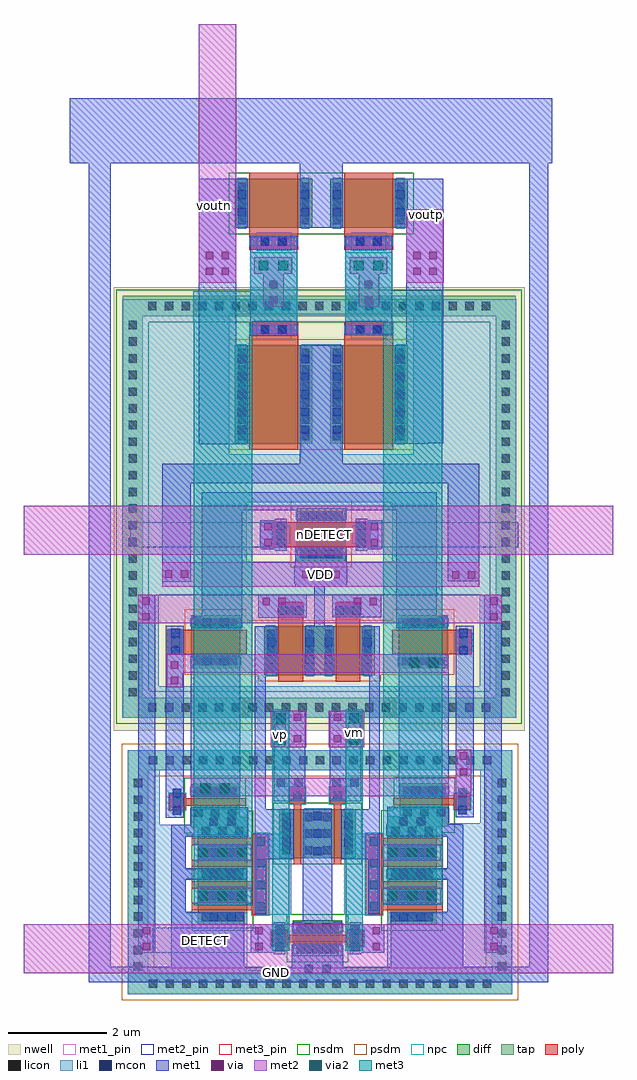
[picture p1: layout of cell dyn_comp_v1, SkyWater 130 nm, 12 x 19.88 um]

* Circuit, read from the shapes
.subckt dyn_comp_v1 DETECT GND VDD nDETECT vm voutn voutp vp
XM1 sky130_fd_pr__nfet_01v8_9ZWGZ9_0/D sky130_fd_pr__nfet_01v8_9ZWGZ9_17/D GND GND sky130_fd_pr__nfet_01v8 w=1 l=0.15
XM2 sky130_fd_pr__nfet_01v8_9ZWGZ9_0/D sky130_fd_pr__pfet_01v8_KDZMJM_38/D GND GND sky130_fd_pr__nfet_01v8 w=1 l=0.15 m=4
XM3 GND sky130_fd_pr__nfet_01v8_9ZWGZ9_0/D voutn GND sky130_fd_pr__nfet_01v8 w=1 l=1
XM4 sky130_fd_pr__nfet_01v8_9ZWGZ9_35/D DETECT GND GND sky130_fd_pr__nfet_01v8 w=1 l=0.15
XM5 sky130_fd_pr__nfet_01v8_9ZWGZ9_35/D vp sky130_fd_pr__pfet_01v8_KDZMJM_38/D GND sky130_fd_pr__nfet_01v8 w=1 l=0.15
XM6 sky130_fd_pr__nfet_01v8_9ZWGZ9_36/D vm sky130_fd_pr__nfet_01v8_9ZWGZ9_35/D GND sky130_fd_pr__nfet_01v8 w=1 l=0.15
XM7 voutp sky130_fd_pr__nfet_01v8_9ZWGZ9_17/D GND GND sky130_fd_pr__nfet_01v8 w=1 l=1
XM8 sky130_fd_pr__nfet_01v8_9ZWGZ9_17/D sky130_fd_pr__nfet_01v8_9ZWGZ9_36/D GND GND sky130_fd_pr__nfet_01v8 w=1 l=0.15 m=4
XM9 sky130_fd_pr__nfet_01v8_9ZWGZ9_17/D sky130_fd_pr__nfet_01v8_9ZWGZ9_0/D GND GND sky130_fd_pr__nfet_01v8 w=1 l=0.15
XM10 sky130_fd_pr__pfet_01v8_KDZMJM_53/D sky130_fd_pr__nfet_01v8_9ZWGZ9_17/D sky130_fd_pr__nfet_01v8_9ZWGZ9_0/D VDD sky130_fd_pr__pfet_01v8 w=1 l=0.5
XM11 VDD sky130_fd_pr__nfet_01v8_9ZWGZ9_0/D voutn VDD sky130_fd_pr__pfet_01v8 w=2 l=1
XM12 VDD DETECT sky130_fd_pr__pfet_01v8_KDZMJM_38/D VDD sky130_fd_pr__pfet_01v8 w=1 l=0.5
XM13 sky130_fd_pr__pfet_01v8_KDZMJM_53/D nDETECT VDD VDD sky130_fd_pr__pfet_01v8 w=1 l=0.5
XM14 sky130_fd_pr__nfet_01v8_9ZWGZ9_36/D DETECT VDD VDD sky130_fd_pr__pfet_01v8 w=1 l=0.5
XM15 voutp sky130_fd_pr__nfet_01v8_9ZWGZ9_17/D VDD VDD sky130_fd_pr__pfet_01v8 w=2 l=1
XM16 sky130_fd_pr__pfet_01v8_KDZMJM_53/D sky130_fd_pr__nfet_01v8_9ZWGZ9_0/D sky130_fd_pr__nfet_01v8_9ZWGZ9_17/D VDD sky130_fd_pr__pfet_01v8 w=1 l=0.5
.ends

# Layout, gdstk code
from math import pi, radians
import gdstk
lib = gdstk.Library(unit=1e-6, precision=1e-09)
def R(c, l, rs):  # rectangles x0, y0, x1, y1
    for r in rs: c.add(gdstk.rectangle(r[:2], r[2:], *l))
def A(c, l, x, y, w, h, nx, ny, dx, dy):  # array of equal rectangles
    R(c, l, [(x+i*dx, y+j*dy, x+i*dx+w, y+j*dy+h) for i in range(nx) for j in range(ny)])
nwell = (64, 20)
diff = (65, 20)
tap = (65, 44)
poly = (66, 20)
licon = (66, 44)
li1 = (67, 20)
mcon = (67, 44)
met1_pin = (68, 16)
met1 = (68, 20)
via = (68, 44)
met2_pin = (69, 16)
met2 = (69, 20)
via2 = (69, 44)
met3_pin = (70, 16)
met3 = (70, 20)
nsdm = (93, 44)
psdm = (94, 20)
npc = (95, 20)

sky130_fd_pr__nfet_01v8_ = lib.new_cell('sky130_fd_pr__nfet_01v8_9ZWGZ9')
R(sky130_fd_pr__nfet_01v8_, diff, [(-0.365,-0.655,0.365,0.345)])
R(sky130_fd_pr__nfet_01v8_, poly, [(-0.075,-0.785,0.075,0.455), (-0.165,0.455,0.165,0.785)])
A(sky130_fd_pr__nfet_01v8_, licon, -0.305, -0.58, 0.17, 0.17, 1, 3, 0, 0.34)
A(sky130_fd_pr__nfet_01v8_, licon, 0.135, -0.58, 0.17, 0.17, 1, 3, 0, 0.34)
R(sky130_fd_pr__nfet_01v8_, licon, [(-0.085,0.535,0.085,0.705)])
R(sky130_fd_pr__nfet_01v8_, li1, [(-0.305,-0.66,-0.135,0.35), (0.125,-0.66,0.315,0.35), (-0.165,0.535,0.165,0.705)])
R(sky130_fd_pr__nfet_01v8_, met1, [(-0.145,0.505,0.145,0.735)])
R(sky130_fd_pr__nfet_01v8_, nsdm, [(-0.49,-0.78,0.49,0.47)])
R(sky130_fd_pr__nfet_01v8_, npc, [(-0.185,0.435,0.185,0.805)])
sky130_fd_pr__nfet_01v8_.add(gdstk.Label('G', (0,0.62), layer=67, texttype=5))
sky130_fd_pr__nfet_01v8_.add(gdstk.Label('S', (0.22,-0.155), layer=67, texttype=5))
sky130_fd_pr__nfet_01v8_.add(gdstk.Label('D', (-0.22,-0.155), layer=67, texttype=5))

l1m1_mag_7849107791413 = lib.new_cell('L1M1_MAG_7849107791413')
R(l1m1_mag_7849107791413, li1, [(-0.265,-0.085,0.265,0.085)])
R(l1m1_mag_7849107791413, mcon, [(-0.265,-0.085,-0.095,0.085), (0.095,-0.085,0.265,0.085)])
R(l1m1_mag_7849107791413, met1, [(-0.325,-0.115,0.325,0.115)])

c_sky130_fd_pr__nfet_01v8_ = lib.new_cell('sky130_fd_pr__nfet_01v8_9ZAZEB')
R(c_sky130_fd_pr__nfet_01v8_, diff, [(-0.365,-0.5,0.365,0.5)])
R(c_sky130_fd_pr__nfet_01v8_, poly, [(-0.165,-0.94,0.165,-0.61), (-0.075,-0.61,0.075,0.61), (-0.165,0.61,0.165,0.94)])
A(c_sky130_fd_pr__nfet_01v8_, licon, -0.305, -0.425, 0.17, 0.17, 1, 3, 0, 0.34)
A(c_sky130_fd_pr__nfet_01v8_, licon, 0.135, -0.425, 0.17, 0.17, 1, 3, 0, 0.34)
R(c_sky130_fd_pr__nfet_01v8_, licon, [(-0.085,-0.86,0.085,-0.69), (-0.085,0.69,0.085,0.86)])
R(c_sky130_fd_pr__nfet_01v8_, li1, [(-0.165,-0.86,0.165,-0.69), (-0.305,-0.52,-0.135,0.52), (0.135,-0.52,0.305,0.52), (-0.165,0.69,0.165,0.86)])
R(c_sky130_fd_pr__nfet_01v8_, mcon, [(-0.305,-0.265,-0.135,-0.095), (0.135,-0.265,0.305,-0.095), (-0.305,0.095,-0.135,0.265), (0.135,0.095,0.305,0.265)])
R(c_sky130_fd_pr__nfet_01v8_, met1, [(-0.295,-1.355,0.285,-0.735), (-0.145,-0.735,0.145,-0.66), (-0.335,-0.5,-0.105,0.5), (0.105,-0.5,0.335,0.5), (-0.145,0.66,0.145,0.755), (-0.295,0.755,0.285,1.355)])
R(c_sky130_fd_pr__nfet_01v8_, nsdm, [(-0.49,-0.625,0.49,0.625)])
R(c_sky130_fd_pr__nfet_01v8_, npc, [(-0.185,-0.96,0.185,-0.59), (-0.185,0.59,0.185,0.96)])
c_sky130_fd_pr__nfet_01v8_.add(gdstk.Reference(l1m1_mag_7849107791413, (0,-0.775)))
c_sky130_fd_pr__nfet_01v8_.add(gdstk.Reference(l1m1_mag_7849107791413, (0,0.775)))
c_sky130_fd_pr__nfet_01v8_.add(gdstk.Label('G', (0,0.775), layer=67, texttype=5))
c_sky130_fd_pr__nfet_01v8_.add(gdstk.Label('S', (0.22,0), layer=67, texttype=5))
c_sky130_fd_pr__nfet_01v8_.add(gdstk.Label('D', (-0.22,0), layer=67, texttype=5))

m1m2_mag_7849107791419 = lib.new_cell('M1M2_MAG_7849107791419')
R(m1m2_mag_7849107791419, met1, [(-0.16,-0.29,0.16,0.29)])
R(m1m2_mag_7849107791419, via, [(-0.075,-0.235,0.075,-0.085), (-0.075,0.085,0.075,0.235)])
R(m1m2_mag_7849107791419, met2, [(-0.16,-0.29,0.16,0.29)])

m2m3_mag_7849107791425 = lib.new_cell('M2M3_MAG_7849107791425')
R(m2m3_mag_7849107791425, met2, [(-0.585,-0.165,0.585,0.165)])
A(m2m3_mag_7849107791425, via2, -0.5, -0.1, 0.2, 0.2, 3, 1, 0.4, 0)
R(m2m3_mag_7849107791425, met3, [(-0.585,-0.165,0.585,0.165)])

m1m2_mag_7849107791426 = lib.new_cell('M1M2_MAG_7849107791426')
R(m1m2_mag_7849107791426, met1, [(-0.5,-0.13,0.5,0.13)])
A(m1m2_mag_7849107791426, via, -0.395, -0.075, 0.15, 0.15, 3, 1, 0.32, 0)
R(m1m2_mag_7849107791426, met2, [(-0.585,-0.165,0.585,0.165)])

l1m1_mag_7849107791427 = lib.new_cell('L1M1_MAG_7849107791427')
R(l1m1_mag_7849107791427, li1, [(-0.5,-0.1,0.5,0.1)])
R(l1m1_mag_7849107791427, mcon, [(-0.265,-0.085,-0.095,0.085), (0.095,-0.085,0.265,0.085)])
R(l1m1_mag_7849107791427, met1, [(-0.5,-0.13,0.5,0.13)])

l1m1_mag_7849107791429 = lib.new_cell('L1M1_MAG_7849107791429')
R(l1m1_mag_7849107791429, li1, [(-0.085,-0.085,0.085,0.085)])
R(l1m1_mag_7849107791429, mcon, [(-0.085,-0.085,0.085,0.085)])
R(l1m1_mag_7849107791429, met1, [(-0.145,-0.115,0.145,0.115)])

c_sky130_fd_pr__nfet_01v8__ = lib.new_cell('sky130_fd_pr__nfet_01v8_ML4XRG')
R(c_sky130_fd_pr__nfet_01v8__, diff, [(-0.365,-0.345,0.365,0.655)])
R(c_sky130_fd_pr__nfet_01v8__, poly, [(-0.165,-0.785,0.165,-0.455), (-0.075,-0.455,0.075,0.785)])
A(c_sky130_fd_pr__nfet_01v8__, licon, -0.305, -0.27, 0.17, 0.17, 1, 3, 0, 0.34)
A(c_sky130_fd_pr__nfet_01v8__, licon, 0.135, -0.27, 0.17, 0.17, 1, 3, 0, 0.34)
R(c_sky130_fd_pr__nfet_01v8__, licon, [(-0.085,-0.705,0.085,-0.535)])
R(c_sky130_fd_pr__nfet_01v8__, li1, [(-0.165,-0.705,0.165,-0.535), (-0.305,-0.35,-0.135,0.66), (0.135,-0.35,0.305,0.66)])
R(c_sky130_fd_pr__nfet_01v8__, met1, [(-0.335,-0.345,-0.105,0.655), (0.105,-0.345,0.335,0.655)])
R(c_sky130_fd_pr__nfet_01v8__, nsdm, [(-0.49,-0.47,0.49,0.78)])
R(c_sky130_fd_pr__nfet_01v8__, npc, [(-0.185,-0.805,0.185,-0.435)])
c_sky130_fd_pr__nfet_01v8__.add(gdstk.Reference(l1m1_mag_7849107791429, (-0.18,-0.62)))
c_sky130_fd_pr__nfet_01v8__.add(gdstk.Reference(l1m1_mag_7849107791429, (0.18,-0.62)))
c_sky130_fd_pr__nfet_01v8__.add(gdstk.Label('G', (0,-0.62), layer=67, texttype=5))
c_sky130_fd_pr__nfet_01v8__.add(gdstk.Label('S', (0.22,0.155), layer=67, texttype=5))
c_sky130_fd_pr__nfet_01v8__.add(gdstk.Label('D', (-0.22,0.155), layer=67, texttype=5))

l1m1_mag_7849107791410 = lib.new_cell('L1M1_MAG_7849107791410')
R(l1m1_mag_7849107791410, li1, [(-0.085,-0.265,0.085,0.265)])
R(l1m1_mag_7849107791410, mcon, [(-0.085,-0.265,0.085,-0.095), (-0.085,0.095,0.085,0.265)])
R(l1m1_mag_7849107791410, met1, [(-0.145,-0.295,0.145,0.295)])

l1m1_mag_7849107791424 = lib.new_cell('L1M1_MAG_7849107791424')
R(l1m1_mag_7849107791424, li1, [(-0.085,-0.445,0.085,0.445)])
A(l1m1_mag_7849107791424, mcon, -0.085, -0.445, 0.17, 0.17, 1, 3, 0, 0.36)
R(l1m1_mag_7849107791424, met1, [(-0.145,-0.475,0.145,0.475)])

sky130_fd_pr__pfet_01v8_ = lib.new_cell('sky130_fd_pr__pfet_01v8_KDZMJM')
R(sky130_fd_pr__pfet_01v8_, nwell, [(-0.72,-0.99,0.72,0.82)])
R(sky130_fd_pr__pfet_01v8_, diff, [(-0.54,-0.68,0.54,0.32)])
R(sky130_fd_pr__pfet_01v8_, poly, [(-0.25,-0.81,0.25,0.805)])
A(sky130_fd_pr__pfet_01v8_, licon, -0.48, -0.605, 0.17, 0.17, 1, 3, 0, 0.34)
A(sky130_fd_pr__pfet_01v8_, licon, 0.31, -0.605, 0.17, 0.17, 1, 3, 0, 0.34)
R(sky130_fd_pr__pfet_01v8_, licon, [(-0.085,0.555,0.085,0.725)])
R(sky130_fd_pr__pfet_01v8_, li1, [(-0.48,-0.7,-0.31,0.34), (0.31,-0.7,0.48,0.34), (-0.25,0.555,0.25,0.725)])
R(sky130_fd_pr__pfet_01v8_, mcon, [(-0.48,-0.445,-0.31,-0.275), (0.31,-0.445,0.48,-0.275), (-0.48,-0.085,-0.31,0.085), (0.31,-0.085,0.48,0.085)])
R(sky130_fd_pr__pfet_01v8_, met1, [(-0.51,-0.68,-0.28,0.32), (0.28,-0.68,0.51,0.32), (-0.23,0.525,0.23,0.755)])
R(sky130_fd_pr__pfet_01v8_, psdm, [(-0.665,-0.805,0.665,0.445)])
R(sky130_fd_pr__pfet_01v8_, npc, [(-0.185,0.455,0.185,0.825)])
sky130_fd_pr__pfet_01v8_.add(gdstk.Reference(l1m1_mag_7849107791413, (0,0.64)))
sky130_fd_pr__pfet_01v8_.add(gdstk.Label('G', (0,0.64), layer=67, texttype=5))
sky130_fd_pr__pfet_01v8_.add(gdstk.Label('S', (0.395,-0.18), layer=67, texttype=5))
sky130_fd_pr__pfet_01v8_.add(gdstk.Label('D', (-0.395,-0.18), layer=67, texttype=5))

m2m3_mag_7849107791415 = lib.new_cell('M2M3_MAG_7849107791415')
R(m2m3_mag_7849107791415, met2, [(-0.385,-0.165,0.385,0.165)])
R(m2m3_mag_7849107791415, via2, [(-0.3,-0.1,-0.1,0.1), (0.1,-0.1,0.3,0.1)])
R(m2m3_mag_7849107791415, met3, [(-0.385,-0.165,0.385,0.165)])

m1m2_mag_7849107791428 = lib.new_cell('M1M2_MAG_7849107791428')
R(m1m2_mag_7849107791428, met1, [(-0.385,-0.165,0.385,0.165)])
R(m1m2_mag_7849107791428, via, [(-0.235,-0.075,-0.085,0.075), (0.085,-0.075,0.235,0.075)])
R(m1m2_mag_7849107791428, met2, [(-0.385,-0.165,0.385,0.165)])

m1m2_mag_7849107791416 = lib.new_cell('M1M2_MAG_7849107791416')
R(m1m2_mag_7849107791416, met1, [(-0.32,-0.13,0.32,0.13)])
R(m1m2_mag_7849107791416, via, [(-0.235,-0.075,-0.085,0.075), (0.085,-0.075,0.235,0.075)])
R(m1m2_mag_7849107791416, met2, [(-0.32,-0.13,0.32,0.13)])

c_sky130_fd_pr__pfet_01v8_ = lib.new_cell('sky130_fd_pr__pfet_01v8_U2XPXD')
R(c_sky130_fd_pr__pfet_01v8_, nwell, [(-0.72,-1,0.72,1)])
R(c_sky130_fd_pr__pfet_01v8_, diff, [(-0.54,-0.5,0.54,0.5)])
R(c_sky130_fd_pr__pfet_01v8_, poly, [(-0.25,-0.985,0.25,0.985)])
A(c_sky130_fd_pr__pfet_01v8_, licon, -0.48, -0.425, 0.17, 0.17, 1, 3, 0, 0.34)
A(c_sky130_fd_pr__pfet_01v8_, licon, 0.31, -0.425, 0.17, 0.17, 1, 3, 0, 0.34)
R(c_sky130_fd_pr__pfet_01v8_, licon, [(-0.085,-0.905,0.085,-0.735), (-0.085,0.735,0.085,0.905)])
R(c_sky130_fd_pr__pfet_01v8_, li1, [(-0.25,-0.905,0.25,-0.735), (-0.48,-0.52,-0.31,0.52), (0.31,-0.52,0.48,0.52), (-0.25,0.735,0.25,0.905)])
R(c_sky130_fd_pr__pfet_01v8_, mcon, [(-0.48,-0.265,-0.31,-0.095), (0.31,-0.265,0.48,-0.095), (-0.48,0.095,-0.31,0.265), (0.31,0.095,0.48,0.265)])
R(c_sky130_fd_pr__pfet_01v8_, met1, [(-0.23,-0.935,0.23,-0.705), (-0.51,-0.5,-0.28,0.5), (0.28,-0.5,0.51,0.5)])
R(c_sky130_fd_pr__pfet_01v8_, psdm, [(-0.665,-0.625,0.665,0.625)])
R(c_sky130_fd_pr__pfet_01v8_, npc, [(-0.185,-1.005,0.185,-0.635), (-0.185,0.635,0.185,1.005)])
c_sky130_fd_pr__pfet_01v8_.add(gdstk.Reference(l1m1_mag_7849107791413, (0,-0.82)))
c_sky130_fd_pr__pfet_01v8_.add(gdstk.Reference(l1m1_mag_7849107791413, (0,0.82)))
c_sky130_fd_pr__pfet_01v8_.add(gdstk.Label('G', (0,0.82), layer=67, texttype=5))
c_sky130_fd_pr__pfet_01v8_.add(gdstk.Label('S', (0.395,0), layer=67, texttype=5))
c_sky130_fd_pr__pfet_01v8_.add(gdstk.Label('D', (-0.395,0), layer=67, texttype=5))

c_sky130_fd_pr__pfet_01v8__ = lib.new_cell('sky130_fd_pr__pfet_01v8_D48SMA')
R(c_sky130_fd_pr__pfet_01v8__, nwell, [(-0.97,-1.32,0.97,1.49)])
R(c_sky130_fd_pr__pfet_01v8__, diff, [(-0.79,-0.82,0.79,1.18)])
R(c_sky130_fd_pr__pfet_01v8__, poly, [(-0.5,-1.305,0.5,1.31)])
A(c_sky130_fd_pr__pfet_01v8__, licon, -0.73, -0.755, 0.17, 0.17, 1, 6, 0, 0.34)
A(c_sky130_fd_pr__pfet_01v8__, licon, 0.56, -0.755, 0.17, 0.17, 1, 6, 0, 0.34)
R(c_sky130_fd_pr__pfet_01v8__, licon, [(-0.255,-1.225,-0.085,-1.055), (0.085,-1.225,0.255,-1.055)])
R(c_sky130_fd_pr__pfet_01v8__, li1, [(-0.5,-1.225,0.5,-1.055), (-0.73,-0.84,-0.56,1.2), (0.56,-0.84,0.73,1.2)])
A(c_sky130_fd_pr__pfet_01v8__, mcon, -0.73, -0.625, 0.17, 0.17, 1, 5, 0, 0.36)
A(c_sky130_fd_pr__pfet_01v8__, mcon, 0.56, -0.625, 0.17, 0.17, 1, 5, 0, 0.36)
R(c_sky130_fd_pr__pfet_01v8__, mcon, [(-0.265,-1.225,-0.095,-1.055), (0.095,-1.225,0.265,-1.055)])
R(c_sky130_fd_pr__pfet_01v8__, met1, [(-0.48,-1.255,0.48,-1.025), (-0.76,-0.82,-0.53,1.18), (0.53,-0.82,0.76,1.18)])
R(c_sky130_fd_pr__pfet_01v8__, psdm, [(-0.915,-0.945,0.915,1.305)])
R(c_sky130_fd_pr__pfet_01v8__, npc, [(-0.355,-1.325,0.355,-0.955)])
c_sky130_fd_pr__pfet_01v8__.add(gdstk.Label('G', (0,-1.14), layer=67, texttype=5))
c_sky130_fd_pr__pfet_01v8__.add(gdstk.Label('S', (0.645,0.18), layer=67, texttype=5))
c_sky130_fd_pr__pfet_01v8__.add(gdstk.Label('D', (-0.645,0.18), layer=67, texttype=5))

m1m2_mag_7849107791423 = lib.new_cell('M1M2_MAG_7849107791423')
R(m1m2_mag_7849107791423, met1, [(-0.32,-0.29,0.32,0.29)])
R(m1m2_mag_7849107791423, via, [(-0.235,-0.235,-0.085,-0.085), (0.085,-0.235,0.235,-0.085), (-0.235,0.085,-0.085,0.235), (0.085,0.085,0.235,0.235)])
R(m1m2_mag_7849107791423, met2, [(-0.32,-0.29,0.32,0.29)])

c_sky130_fd_pr__nfet_01v8___ = lib.new_cell('sky130_fd_pr__nfet_01v8_V52S8A')
R(c_sky130_fd_pr__nfet_01v8___, diff, [(-0.79,-0.655,0.79,0.345)])
R(c_sky130_fd_pr__nfet_01v8___, poly, [(-0.5,-0.785,0.5,0.785)])
A(c_sky130_fd_pr__nfet_01v8___, licon, -0.73, -0.58, 0.17, 0.17, 1, 3, 0, 0.34)
A(c_sky130_fd_pr__nfet_01v8___, licon, 0.56, -0.58, 0.17, 0.17, 1, 3, 0, 0.34)
R(c_sky130_fd_pr__nfet_01v8___, licon, [(-0.255,0.535,-0.085,0.705), (0.085,0.535,0.255,0.705)])
R(c_sky130_fd_pr__nfet_01v8___, li1, [(-0.73,-0.675,-0.56,0.365), (0.56,-0.675,0.73,0.365), (-0.5,0.535,0.5,0.705)])
R(c_sky130_fd_pr__nfet_01v8___, mcon, [(-0.73,-0.42,-0.56,-0.25), (0.56,-0.42,0.73,-0.25), (-0.73,-0.06,-0.56,0.11), (0.56,-0.06,0.73,0.11), (-0.265,0.535,-0.095,0.705), (0.095,0.535,0.265,0.705)])
R(c_sky130_fd_pr__nfet_01v8___, met1, [(-0.76,-0.655,-0.53,0.345), (0.53,-0.655,0.76,0.345), (-0.48,0.505,0.48,0.735)])
R(c_sky130_fd_pr__nfet_01v8___, nsdm, [(-0.915,-0.78,0.915,0.47)])
R(c_sky130_fd_pr__nfet_01v8___, npc, [(-0.355,0.435,0.355,0.805)])
c_sky130_fd_pr__nfet_01v8___.add(gdstk.Label('G', (0,0.62), layer=67, texttype=5))
c_sky130_fd_pr__nfet_01v8___.add(gdstk.Label('S', (0.645,-0.155), layer=67, texttype=5))
c_sky130_fd_pr__nfet_01v8___.add(gdstk.Label('D', (-0.645,-0.155), layer=67, texttype=5))

dyn_comp_v1 = lib.new_cell('dyn_comp_v1')
R(dyn_comp_v1, nwell, [(0.03,4.285,8.4,13.32)])
R(dyn_comp_v1, diff, [(3.905,1.69,4.455,1.97), (3.915,1.97,4.455,2.67), (5.645,2.21,6.605,2.33), (1.595,2.32,2.745,2.53), (5.645,2.33,6.855,2.39), (5.605,2.39,6.855,2.49), (5.605,2.49,5.855,2.54), (4.075,2.67,4.305,2.69), (3.915,5.415,4.525,6.415), (3.125,6.005,3.245,6.255)])
R(dyn_comp_v1, tap, [(0.32,-1.075,8.14,-0.665), (0.32,-0.665,0.73,3.48), (7.73,-0.665,8.14,3.48), (0.32,3.48,8.14,3.89), (0.21,4.55,8.22,4.96), (0.21,4.96,0.62,12.73), (7.81,4.96,8.22,12.73), (0.21,12.73,8.22,13.14)])
R(dyn_comp_v1, poly, [(2.855,0.54,3.185,2.19), (5.165,0.54,5.495,2.19), (1.155,2.67,1.455,3), (1.155,5.835,1.405,6.345)])
A(dyn_comp_v1, licon, 0.745, -0.955, 0.17, 0.17, 21, 2, 0.34, 4.555)
A(dyn_comp_v1, licon, 0.44, -0.605, 0.17, 0.17, 1, 12, 0, 0.34)
A(dyn_comp_v1, licon, 7.85, -0.605, 0.17, 0.17, 1, 12, 0, 0.34)
A(dyn_comp_v1, licon, 0.73, 4.67, 0.17, 0.17, 21, 2, 0.34, 8.18)
A(dyn_comp_v1, licon, 0.33, 4.985, 0.17, 0.17, 1, 23, 0, 0.34)
A(dyn_comp_v1, licon, 7.93, 4.985, 0.17, 0.17, 1, 23, 0, 0.34)
R(dyn_comp_v1, li1, [(0.315,-1.08,8.145,-0.59), (0.315,-0.59,2.75,0.4), (3.66,-0.59,4.7,-0.08), (5.6,-0.59,8.145,0.4), (0.315,0.4,2.735,0.58), (5.68,0.4,8.145,0.57), (2.935,0.54,3.645,2.19), (4.725,0.54,5.415,2.19), (6.825,0.57,8.145,1.27), (0.315,0.58,1.495,1.27), (1.74,0.825,2.75,1.025), (5.6,0.825,6.61,1.025), (0.315,1.27,2.745,1.46), (5.585,1.27,8.145,1.46), (0.315,1.46,1.495,2.16), (6.825,1.46,8.145,2.16), (3.905,1.685,4.465,2.705), (1.74,1.705,2.75,1.905), (5.6,1.705,6.61,1.905), (0.315,2.16,2.095,2.315), (2.555,2.16,2.745,2.315), (5.605,2.16,5.865,2.21), (6.605,2.16,8.145,2.21), (5.6,2.21,8.145,2.405), (0.315,2.315,2.75,2.37), (0.315,2.37,0.965,3.48), (1.59,2.37,2.75,2.53), (5.6,2.405,6.86,2.56), (7.495,2.405,8.145,3.48), (1.67,2.53,1.765,2.57), (2.555,2.53,2.75,2.7), (5.6,2.56,6.78,2.66), (1.235,2.57,1.405,3.1), (7.045,2.58,7.215,3.11), (5.6,2.66,5.865,2.71), (3.605,2.88,3.935,3.31), (4.425,2.88,4.755,3.31), (1.7,3.01,2.49,3.14), (0.315,3.48,8.145,3.885), (0.205,4.545,8.225,5.195), (0.205,5.195,0.945,7.055), (7.485,5.195,8.225,7.055), (3.125,5.395,3.295,5.585), (3.125,5.585,3.325,6.415), (1.155,5.83,1.405,6.36), (7.07,5.83,7.24,6.36), (3.125,6.415,3.305,6.435), (0.205,7.055,8.225,7.725), (0.205,7.725,2.735,8.935), (3.725,7.725,4.775,8.015), (5.705,7.725,8.225,8.935), (3,8.015,3.52,8.545), (4.99,8.015,5.42,8.545), (0.205,8.935,8.225,9.915), (0.205,9.915,2.385,12.765), (3.845,9.915,4.665,12.155), (6.125,9.915,8.225,12.765), (0.205,12.765,8.225,13.075)])
R(dyn_comp_v1, mcon, [(3.915,-0.65,4.085,-0.48), (4.275,-0.65,4.445,-0.48)])
R(dyn_comp_v1, met1_pin, [(3.3,-0.7,3.38,-0.56)])
R(dyn_comp_v1, met1, [(-0.475,-0.84,8.875,-0.52), (-0.475,-0.52,-0.03,15.845), (1.205,-0.52,2.685,0.6), (3.66,-0.52,4.7,-0.08), (5.675,-0.52,7.145,0.6), (8.49,-0.52,8.875,15.845), (0.525,-0.24,0.875,7.055), (7.575,-0.24,7.935,7.055), (2.83,-0.11,3.52,0.22), (4.845,-0.11,5.535,0.22), (3.875,0.3,4.485,2.69), (2.905,0.56,3.135,1.67), (5.215,0.56,5.445,1.67), (1.205,0.6,1.495,1.25), (6.825,0.6,7.145,1.25), (1.205,1.25,2.745,1.48), (5.605,1.25,7.145,1.48), (1.205,1.48,1.495,2.13), (6.825,1.48,7.145,2.13), (2.905,1.67,3.695,2.69), (4.665,1.67,5.445,2.69), (1.205,2.13,2.765,2.37), (5.605,2.13,7.145,2.16), (5.585,2.16,7.145,2.37), (1.595,2.37,2.765,2.73), (5.605,2.37,7.115,2.38), (5.605,2.38,6.855,2.56), (1.085,2.51,1.455,6.42), (6.995,2.52,7.365,6.42), (5.605,2.56,6.815,2.66), (5.605,2.66,5.885,2.74), (2.905,2.69,3.125,5.395), (5.235,2.69,5.445,6.015), (3.285,2.85,3.935,4.695), (4.425,2.85,5.075,4.695), (5.835,2.935,6.855,5.845), (1.595,2.94,2.605,5.815), (2.905,5.395,3.355,5.705), (3.915,5.415,4.525,6.415), (2.905,5.705,3.125,6.005), (2.905,6.005,3.245,6.255), (5.105,6.015,5.445,6.255), (2.905,6.255,3.125,6.415), (5.235,6.255,5.445,6.415), (1.825,6.375,2.645,8.78), (5.785,6.375,6.605,8.78), (4.115,6.415,4.325,7.215), (2.975,6.585,3.96,7.05), (4.48,6.595,5.475,7.05), (3.725,7.215,4.775,7.285), (3.705,7.285,4.79,7.645), (1.02,7.32,1.595,9.325), (6.835,7.33,7.475,9.325), (3.725,7.645,4.775,8.015), (3.03,7.985,3.55,8.575), (4.96,7.985,5.48,8.575), (1.825,8.78,6.605,9.14), (1.02,9.325,7.475,9.725), (3.815,9.725,4.695,12.135), (1.765,10.125,2.525,15.525), (5.985,10.135,6.425,10.145), (5.985,10.145,6.745,15.525), (2.805,12.335,3.765,14.36), (4.745,12.34,5.705,14.35), (3.815,14.525,4.695,15.845), (-0.87,15.845,8.96,17.165)])
R(dyn_comp_v1, via, [(3.695,4.045,3.845,4.195), (4.515,4.045,4.665,4.195), (3.695,4.485,3.845,4.635), (4.515,4.485,4.665,4.635), (6.11,5.58,6.26,5.73), (6.43,5.58,6.58,5.73), (3.865,7.39,4.015,7.54), (4.48,7.39,4.63,7.54)])
R(dyn_comp_v1, met2_pin, [(0.825,-0.24,2.97,0.27), (1.015,7.215,7.475,7.715), (0.37,8.025,8.265,8.535)])
R(dyn_comp_v1, met2, [(-1.8,-0.66,10.2,0.34), (1.735,0.735,2.715,0.765), (5.635,0.735,6.615,0.765), (1.735,1.065,2.715,1.105), (5.635,1.065,6.615,1.105), (1.595,2.95,7.315,3.33), (3.23,3.95,3.955,4.695), (4.405,3.95,5.13,4.695), (1.11,5.465,6.855,5.845), (0.605,6.475,7.935,7.055), (1.015,7.215,7.475,7.715), (-1.8,7.87,10.2,8.87), (3.075,12.925,3.495,13.925), (5.015,12.925,5.435,13.925), (1.765,13.41,2.525,18.68), (5.985,13.41,6.755,14.91)])
R(dyn_comp_v1, via2, [(3.33,4,3.53,4.2), (4.83,4,5.03,4.2), (3.33,4.44,3.53,4.64), (4.83,4.44,5.03,4.64), (6.05,5.565,6.25,5.765), (6.45,5.565,6.65,5.765)])
R(dyn_comp_v1, met3_pin, [(3.32,4,3.535,4.415), (4.8,4.04,5.055,4.45)])
R(dyn_comp_v1, met3, [(3.255,-0.2,3.605,4.725), (4.755,-0.2,5.105,4.725), (1.655,0.735,2.855,12.615), (5.52,0.745,6.72,12.615), (1.65,12.615,3.765,13.235), (4.745,12.615,6.72,13.255), (2.805,13.235,3.765,14.035), (4.745,13.255,5.705,14.035)])
R(dyn_comp_v1, nsdm, [(3.78,1.565,4.58,2.095), (5.52,2.085,6.73,2.205), (3.79,2.095,4.58,2.795), (1.47,2.195,2.87,2.655), (5.52,2.205,6.98,2.265), (5.48,2.265,6.98,2.615), (5.48,2.615,5.98,2.665), (3.95,2.795,4.43,2.815), (0.085,4.425,8.345,5.085), (0.085,5.085,0.745,12.605), (7.685,5.085,8.345,12.605), (0.085,12.605,8.345,13.265), (4.2,14.4,4.31,15.65)])
R(dyn_comp_v1, psdm, [(0.195,-1.2,8.265,-0.54), (0.195,-0.54,0.855,3.355), (7.605,-0.54,8.265,3.355), (0.195,3.355,8.265,4.015), (3.79,5.29,4.65,6.54), (2.73,5.43,2.97,6.54), (5.47,5.43,5.71,6.54), (3,5.88,3.37,6.38), (4.2,10.01,4.31,12.26)])
A(dyn_comp_v1, npc, 2.835, 0.89, 0.37, 0.07, 1, 3, 0, 0.44)
A(dyn_comp_v1, npc, 5.145, 0.89, 0.37, 0.07, 1, 3, 0, 0.44)
dyn_comp_v1.add(gdstk.Reference(sky130_fd_pr__nfet_01v8_, (2.4,0.705), rotation=3*pi/2))
dyn_comp_v1.add(gdstk.Reference(c_sky130_fd_pr__nfet_01v8_, (4.18,0.055), rotation=pi/2))
dyn_comp_v1.add(gdstk.Reference(m1m2_mag_7849107791419, (2.985,0.05)))
dyn_comp_v1.add(gdstk.Reference(m1m2_mag_7849107791419, (0.7,0.05)))
dyn_comp_v1.add(gdstk.Reference(l1m1_mag_7849107791413, (2.245,0.485)))
dyn_comp_v1.add(gdstk.Reference(sky130_fd_pr__nfet_01v8_, (2.4,1.145), rotation=pi/2, x_reflection=True))
dyn_comp_v1.add(gdstk.Reference(sky130_fd_pr__nfet_01v8_, (2.4,1.585), rotation=pi/2, x_reflection=True))
dyn_comp_v1.add(gdstk.Reference(sky130_fd_pr__nfet_01v8_, (2.4,2.025), rotation=3*pi/2))
dyn_comp_v1.add(gdstk.Reference(l1m1_mag_7849107791413, (2.245,1.365)))
dyn_comp_v1.add(gdstk.Reference(m2m3_mag_7849107791425, (2.245,0.925)))
dyn_comp_v1.add(gdstk.Reference(m1m2_mag_7849107791426, (2.245,0.925)))
dyn_comp_v1.add(gdstk.Reference(l1m1_mag_7849107791427, (2.245,0.925)))
dyn_comp_v1.add(gdstk.Reference(c_sky130_fd_pr__nfet_01v8__, (1.94,2.835), rotation=3*pi/2))
dyn_comp_v1.add(gdstk.Reference(l1m1_mag_7849107791413, (2.245,2.43), rotation=pi, x_reflection=True))
dyn_comp_v1.add(gdstk.Reference(m2m3_mag_7849107791425, (2.245,1.805)))
dyn_comp_v1.add(gdstk.Reference(m1m2_mag_7849107791426, (2.245,1.805)))
dyn_comp_v1.add(gdstk.Reference(l1m1_mag_7849107791427, (2.245,1.805)))
dyn_comp_v1.add(gdstk.Reference(sky130_fd_pr__nfet_01v8_, (5.95,0.705), rotation=3*pi/2, x_reflection=True))
dyn_comp_v1.add(gdstk.Reference(sky130_fd_pr__nfet_01v8_, (5.95,1.145), rotation=pi/2))
dyn_comp_v1.add(gdstk.Reference(m1m2_mag_7849107791419, (5.375,0.05)))
dyn_comp_v1.add(gdstk.Reference(l1m1_mag_7849107791413, (6.105,0.485), rotation=pi, x_reflection=True))
dyn_comp_v1.add(gdstk.Reference(m2m3_mag_7849107791425, (6.105,0.925), rotation=pi, x_reflection=True))
dyn_comp_v1.add(gdstk.Reference(m1m2_mag_7849107791426, (6.105,0.925), rotation=pi, x_reflection=True))
dyn_comp_v1.add(gdstk.Reference(l1m1_mag_7849107791427, (6.105,0.925), rotation=pi, x_reflection=True))
dyn_comp_v1.add(gdstk.Reference(l1m1_mag_7849107791410, (3.55,2.19)))
dyn_comp_v1.add(gdstk.Reference(l1m1_mag_7849107791424, (4.18,2.19)))
dyn_comp_v1.add(gdstk.Reference(l1m1_mag_7849107791413, (6.105,2.435), rotation=pi, x_reflection=True))
dyn_comp_v1.add(gdstk.Reference(l1m1_mag_7849107791413, (6.105,1.365), rotation=pi, x_reflection=True))
dyn_comp_v1.add(gdstk.Reference(l1m1_mag_7849107791410, (4.81,2.19)))
dyn_comp_v1.add(gdstk.Reference(m2m3_mag_7849107791425, (6.105,1.805), rotation=pi, x_reflection=True))
dyn_comp_v1.add(gdstk.Reference(m1m2_mag_7849107791426, (6.105,1.805), rotation=pi, x_reflection=True))
dyn_comp_v1.add(gdstk.Reference(l1m1_mag_7849107791427, (6.105,1.805), rotation=pi, x_reflection=True))
dyn_comp_v1.add(gdstk.Reference(sky130_fd_pr__nfet_01v8_, (5.95,1.585), rotation=3*pi/2, x_reflection=True))
dyn_comp_v1.add(gdstk.Reference(sky130_fd_pr__nfet_01v8_, (5.95,2.025), rotation=pi/2))
dyn_comp_v1.add(gdstk.Reference(c_sky130_fd_pr__nfet_01v8__, (6.51,2.845), rotation=pi/2))
dyn_comp_v1.add(gdstk.Reference(sky130_fd_pr__nfet_01v8_, (3.77,2.345), rotation=pi, x_reflection=True))
dyn_comp_v1.add(gdstk.Reference(sky130_fd_pr__nfet_01v8_, (4.59,2.345), rotation=pi, x_reflection=True))
dyn_comp_v1.add(gdstk.Reference(m1m2_mag_7849107791419, (7.775,0.05)))
dyn_comp_v1.add(gdstk.Reference(sky130_fd_pr__pfet_01v8_, (3.635,6.095)))
dyn_comp_v1.add(gdstk.Reference(m1m2_mag_7849107791419, (1.27,5.465)))
dyn_comp_v1.add(gdstk.Reference(m2m3_mag_7849107791415, (2.095,3.115)))
dyn_comp_v1.add(gdstk.Reference(l1m1_mag_7849107791413, (2.095,3.055)))
dyn_comp_v1.add(gdstk.Reference(m1m2_mag_7849107791428, (2.095,3.115)))
dyn_comp_v1.add(gdstk.Reference(sky130_fd_pr__pfet_01v8_, (4.805,6.095)))
dyn_comp_v1.add(gdstk.Reference(l1m1_mag_7849107791413, (3.61,3.225)))
dyn_comp_v1.add(gdstk.Reference(l1m1_mag_7849107791413, (4.75,3.225)))
dyn_comp_v1.add(gdstk.Reference(m1m2_mag_7849107791419, (7.155,3.61)))
dyn_comp_v1.add(gdstk.Reference(l1m1_mag_7849107791413, (6.355,3.065)))
dyn_comp_v1.add(gdstk.Reference(sky130_fd_pr__pfet_01v8_, (1.925,6.095), rotation=pi/2))
dyn_comp_v1.add(gdstk.Reference(m1m2_mag_7849107791419, (0.685,6.765)))
dyn_comp_v1.add(gdstk.Reference(m1m2_mag_7849107791419, (3.175,8.28)))
dyn_comp_v1.add(gdstk.Reference(m1m2_mag_7849107791419, (1.31,7.48), rotation=pi/2))
dyn_comp_v1.add(gdstk.Reference(m1m2_mag_7849107791416, (3.295,6.92)))
dyn_comp_v1.add(gdstk.Reference(sky130_fd_pr__pfet_01v8_, (6.515,6.095), rotation=3*pi/2))
dyn_comp_v1.add(gdstk.Reference(c_sky130_fd_pr__pfet_01v8_, (4.255,8.28), rotation=pi/2))
dyn_comp_v1.add(gdstk.Reference(m1m2_mag_7849107791419, (5.335,8.28)))
dyn_comp_v1.add(gdstk.Reference(m1m2_mag_7849107791416, (5.155,6.92)))
dyn_comp_v1.add(gdstk.Reference(m1m2_mag_7849107791419, (7.775,6.765)))
dyn_comp_v1.add(gdstk.Reference(m1m2_mag_7849107791416, (7.155,7.46)))
dyn_comp_v1.add(gdstk.Reference(c_sky130_fd_pr__pfet_01v8__, (3.285,11.315), x_reflection=True))
dyn_comp_v1.add(gdstk.Reference(c_sky130_fd_pr__pfet_01v8__, (5.225,11.315), rotation=pi))
dyn_comp_v1.add(gdstk.Reference(m1m2_mag_7849107791423, (2.14,13.805)))
dyn_comp_v1.add(gdstk.Reference(m1m2_mag_7849107791419, (3.285,13.215)))
dyn_comp_v1.add(gdstk.Reference(m2m3_mag_7849107791415, (3.28,13.76)))
dyn_comp_v1.add(gdstk.Reference(m1m2_mag_7849107791419, (5.22,13.215)))
dyn_comp_v1.add(gdstk.Reference(m2m3_mag_7849107791415, (5.22,13.76)))
dyn_comp_v1.add(gdstk.Reference(m1m2_mag_7849107791423, (6.37,13.805)))
dyn_comp_v1.add(gdstk.Reference(c_sky130_fd_pr__nfet_01v8___, (3.285,14.87), x_reflection=True))
dyn_comp_v1.add(gdstk.Reference(c_sky130_fd_pr__nfet_01v8___, (5.225,14.87), x_reflection=True))
dyn_comp_v1.add(gdstk.Label('voutn', (2.09,14.99), layer=68, texttype=5))
dyn_comp_v1.add(gdstk.Label('voutp', (6.4,14.79), layer=68, texttype=5))
dyn_comp_v1.add(gdstk.Label('GND', (3.34,-0.63), layer=68, texttype=5))
dyn_comp_v1.add(gdstk.Label('nDETECT', (4.317,8.28), layer=69, texttype=5))
dyn_comp_v1.add(gdstk.Label('VDD', (4.245,7.465), layer=69, texttype=5))
dyn_comp_v1.add(gdstk.Label('DETECT', (1.897,0.015), layer=69, texttype=5))
dyn_comp_v1.add(gdstk.Label('vm', (4.927,4.245), layer=70, texttype=5))
dyn_comp_v1.add(gdstk.Label('vp', (3.427,4.207), layer=70, texttype=5))

lib.write_gds('dyn_comp_v1.gds')
